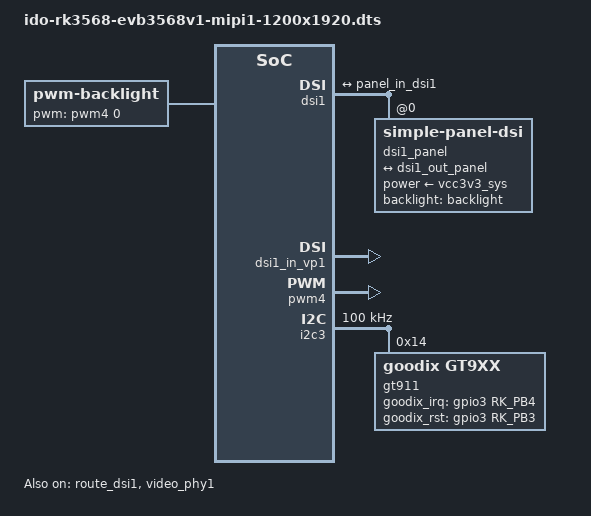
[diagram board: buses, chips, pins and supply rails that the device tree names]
// SPDX-License-Identifier: (GPL-2.0+ OR MIT)
/*
 * Copyright (c) 2020 Rockchip Electronics Co., Ltd.
 *
 */

/dts-v1/;

#include "ido-rk3568-evb3568v1.dts"

/ {
	backlight: backlight {
		compatible = "pwm-backlight";
		pwms = <&pwm4 0 25000 0>;
		brightness-levels = <
			  0  20  20  21  21  22  22  23
			 23  24  24  25  25  26  26  27
			 27  28  28  29  29  30  30  31
			 31  32  32  33  33  34  34  35
			 35  36  36  37  37  38  38  39
			 40  41  42  43  44  45  46  47
			 48  49  50  51  52  53  54  55
			 56  57  58  59  60  61  62  63
			 64  65  66  67  68  69  70  71
			 72  73  74  75  76  77  78  79
			 80  81  82  83  84  85  86  87
			 88  89  90  91  92  93  94  95
			 96  97  98  99 100 101 102 103
			104 105 106 107 108 109 110 111
			112 113 114 115 116 117 118 119
			120 121 122 123 124 125 126 127
			128 129 130 131 132 133 134 135
			136 137 138 139 140 141 142 143
			144 145 146 147 148 149 150 151
			152 153 154 155 156 157 158 159
			160 161 162 163 164 165 166 167
			168 169 170 171 172 173 174 175
			176 177 178 179 180 181 182 183
			184 185 186 187 188 189 190 191
			192 193 194 195 196 197 198 199
			200 201 202 203 204 205 206 207
			208 209 210 211 212 213 214 215
			216 217 218 219 220 221 222 223
			224 225 226 227 228 229 230 231
			232 233 234 235 236 237 238 239
			240 241 242 243 244 245 246 247
			248 249 250 251 252 253 254 255
		>;
		default-brightness-level = <200>;
	};
};
/*
 * video_phy0 needs to be enabled
 * when dsi0 is enabled
 */
&dsi1 {
	status = "okay";
	//rockchip,lane-rate = <1000>;
	dsi1_panel: panel@0 {
		status = "okay";
		compatible = "simple-panel-dsi";
		reg = <0>;

		power-supply = <&vcc3v3_sys>;
		backlight = <&backlight>;
		reset-delay-ms = <60>;
		enable-delay-ms = <60>;
		prepare-delay-ms = <60>;
		unprepare-delay-ms = <60>;
		disable-delay-ms = <60>;
		dsi,flags = <(MIPI_DSI_MODE_VIDEO | MIPI_DSI_MODE_VIDEO_BURST |
						MIPI_DSI_MODE_LPM | MIPI_DSI_MODE_EOT_PACKET)>;
		dsi,format = <MIPI_DSI_FMT_RGB888>;
		dsi,lanes = <4>;

		panel-init-sequence = [
			05 78 01 11
			05 14 01 29						
		];

		panel-exit-sequence = [
			05 00 01 28
			05 78 01 10
		];

		disp_timings1: display-timings {
			native-mode = <&dsi1_timing1>;
			dsi1_timing0: timing0 {
				clock-frequency = <72000000>;
					hactive = <800>;
					vactive = <1280>;
					hback-porch = <120>;
					hfront-porch = <32>;
					vback-porch = <18>;
					vfront-porch = <8>;
					hsync-len = <6>;
					vsync-len = <4>;
					hsync-active = <1>;
					vsync-active = <1>;
					de-active = <0>;
					pixelclk-active = <0>;
			};

			dsi1_timing1: timing1 {
					clock-frequency = <148000000>;
					hactive = <1200>;
					vactive = <1920>;
					hback-porch = <130>;	
					hfront-porch = <160>;
					vback-porch = <16>;
					vfront-porch = <16>;
					hsync-len = <4>;
					vsync-len = <2>;
					hsync-active = <0>;
					vsync-active = <0>;
					de-active = <0>;
					pixelclk-active = <0>;
				};
		};

		ports {
			#address-cells = <1>;
			#size-cells = <0>;

			port@0 {
				reg = <0>;
				panel_in_dsi1: endpoint {
					remote-endpoint = <&dsi1_out_panel>;
				};
			};
		};
	};

	ports {
		#address-cells = <1>;
		#size-cells = <0>;

		port@1 {
			reg = <1>;
			dsi1_out_panel: endpoint {
				remote-endpoint = <&panel_in_dsi1>;
			};
		};
	};

};

&dsi1_in_vp0 {
	status = "disabled";
};

&dsi1_in_vp1 {
	status = "okay";
};

&route_dsi1 {
	status = "okay";
	connect = <&vp1_out_dsi1>;
};

&video_phy1 {
	status = "okay";
};

&backlight {
	status = "okay";
};

&pwm4 {
	status = "okay";
};

&hdmi {
	status = "disabled";
};

&hdmi_in_vp0 {
	status = "disabled";
};

&hdmi_in_vp1 {
	status = "disabled";
};

&hdmi_sound {
	status = "disabled";
};


&i2c3 {
	status = "okay";
	clock-frequency = <100000>;
	pinctrl-0 = <&i2c3m1_xfer>;

	gt911@14 {
		compatible = "goodix,gt9xx";
		reg = <0x14>;
		pinctrl-names = "default";
		pinctrl-0 = <&gtxx_gpio>;
		goodix_irq_gpio = <&gpio3 RK_PB4 IRQ_TYPE_LEVEL_LOW>;
		goodix_rst_gpio = <&gpio3 RK_PB3 GPIO_ACTIVE_HIGH>;
		touchscreen-inverted-y;
		touchscreen-swapped-x-y;
		status = "okay";
	};
};


&pinctrl {
	goodix_gpio {
		gtxx_gpio: gtxx-gpio {
            rockchip,pins =
                <3 RK_PB3 RK_FUNC_GPIO &pcfg_pull_none>,
                <3 RK_PB4 RK_FUNC_GPIO &pcfg_pull_none>;
        };
	};
};
